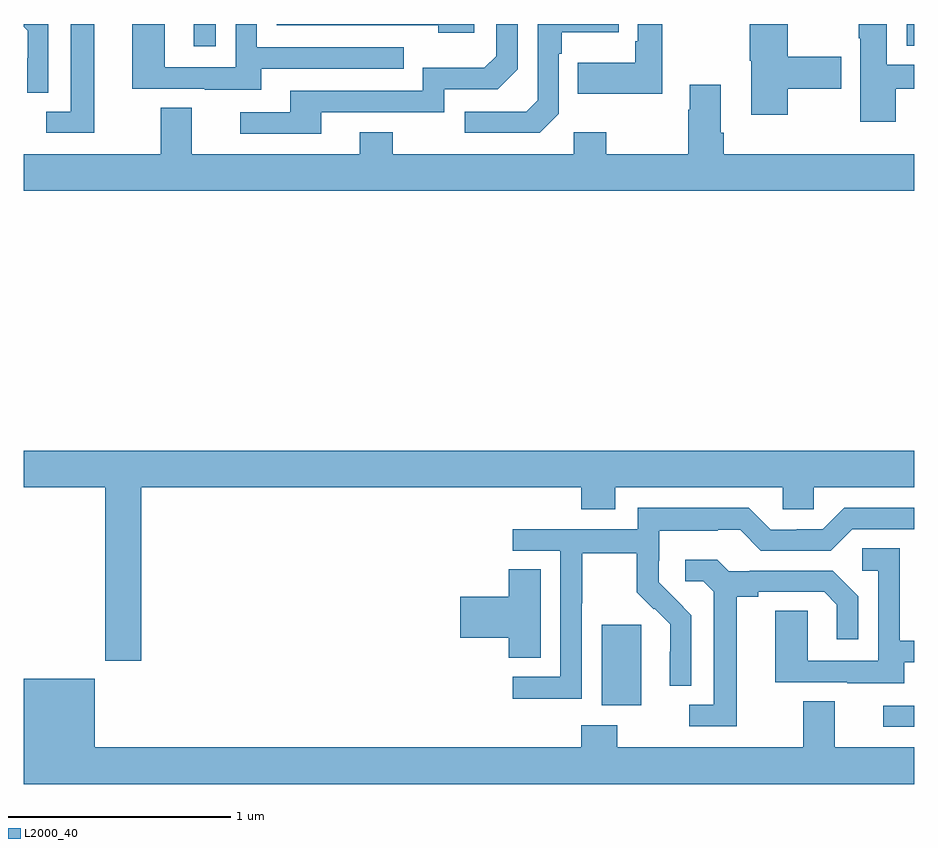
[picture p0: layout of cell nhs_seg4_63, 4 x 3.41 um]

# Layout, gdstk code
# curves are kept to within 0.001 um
import gdstk
lib = gdstk.Library(unit=1e-6, precision=1e-09)
def R(c, l, rs):  # rectangles x0, y0, x1, y1
    for r in rs: c.add(gdstk.rectangle(r[:2], r[2:], *l))
def P(c, l, *ps):  # polygons
    for p in ps: c.add(gdstk.Polygon(p, *l))
L2000_40 = (2000, 40)

nhs_seg4_63 = lib.new_cell('nhs_seg4_63')
R(nhs_seg4_63, L2000_40, [(116.859,795.744,117,795.84), (115.595,795.842,115.774,796.203), (113.765,798.801,113.862,798.9), (116.966,798.802,117,798.9)])
P(nhs_seg4_63, L2000_40, [(115.867,798.9),(115.758,798.9),(115.758,798.823),(115.746,798.823),(115.746,798.727),(115.489,798.727),(115.489,798.587),(115.867,798.587)],
  [(113.112,798.9),(113,798.9),(113,798.887),(113.018,798.869),(113.018,798.746),(113.016,798.746),(113.016,798.592),(113.112,798.592)],
  [(115.024,798.9),(114.138,798.9),(114.138,798.894),(114.863,798.894),(114.863,798.86),(115.024,798.86)],
  [(113.317,798.9),(113.213,798.9),(113.213,798.507),(113.103,798.507),(113.103,798.411),(113.317,798.411)],
  [(115.404,798.498),(115.404,798.767),(115.417,798.767),(115.417,798.863),(115.673,798.863),(115.673,798.9),(115.308,798.9),(115.308,798.558),(115.257,798.507),(114.981,798.507),(114.981,798.411),(115.317,798.411)],
  [(114.337,798.504),(114.888,798.504),(114.888,798.606),(115.128,798.606),(115.218,798.696),(115.218,798.9),(115.122,798.9),(115.122,798.756),(115.069,798.703),(114.792,798.703),(114.792,798.6),(114.197,798.6),(114.197,798.504),(113.973,798.504),(113.973,798.408),(114.337,798.408)],
  [(114.067,798.699),(114.707,798.699),(114.707,798.795),(114.048,798.795),(114.048,798.9),(113.952,798.9),(113.952,798.705),(113.634,798.705),(113.634,798.9),(113.489,798.9),(113.489,798.609),(113.813,798.609),(113.813,798.605),(114.067,798.605)],
  [(116.43,798.61),(116.671,798.61),(116.671,798.752),(116.43,798.752),(116.43,798.9),(116.26,798.9),(116.26,798.735),(116.267,798.735),(116.267,798.492),(116.43,798.492)],
  [(116.917,798.609),(117,798.609),(117,798.717),(116.875,798.717),(116.875,798.9),(116.749,798.9),(116.749,798.835),(116.756,798.835),(116.756,798.462),(116.917,798.462)],
  [(117,798.316),(116.144,798.316),(116.144,798.412),(116.131,798.412),(116.131,798.628),(115.991,798.628),(115.991,798.515),(115.984,798.515),(115.984,798.316),(115.617,798.316),(115.617,798.415),(115.47,798.415),(115.47,798.316),(114.657,798.316),(114.657,798.415),(114.509,798.415),(114.509,798.316),(113.755,798.316),(113.755,798.524),(113.615,798.524),(113.615,798.316),(113,798.316),(113,798.152),(117,798.152)],
  [(113.528,796.82),(115.505,796.82),(115.505,796.721),(115.657,796.721),(115.657,796.82),(116.409,796.82),(116.409,796.722),(116.547,796.722),(116.547,796.82),(117,796.82),(117,796.984),(113,796.984),(113,796.82),(113.368,796.82),(113.368,796.041),(113.528,796.041)],
  [(115.506,796.3),(115.509,796.3),(115.509,796.524),(115.753,796.524),(115.753,796.349),(115.83,796.272),(115.833,796.275),(115.904,796.205),(115.904,796.082),(115.902,796.082),(115.902,795.928),(115.998,795.928),(115.998,796.246),(115.852,796.394),(115.852,796.491),(115.854,796.491),(115.854,796.625),(116.117,796.625),(116.117,796.629),(116.217,796.629),(116.31,796.536),(116.625,796.536),(116.721,796.632),(117,796.632),(117,796.728),(116.685,796.728),(116.589,796.632),(116.471,796.632),(116.471,796.629),(116.355,796.629),(116.255,796.729),(115.758,796.729),(115.758,796.632),(115.197,796.632),(115.197,796.536),(115.41,796.536),(115.41,795.969),(115.197,795.969),(115.197,795.871),(115.506,795.871)],
  [(116.953,796.035),(117,796.035),(117,796.131),(116.934,796.131),(116.934,796.547),(116.766,796.547),(116.766,796.446),(116.838,796.446),(116.838,796.041),(116.52,796.041),(116.52,796.265),(116.375,796.265),(116.375,795.945),(116.699,795.945),(116.699,795.941),(116.953,795.941)],
  [(116.203,796.328),(116.299,796.328),(116.299,796.35),(116.594,796.35),(116.651,796.293),(116.651,796.137),(116.748,796.137),(116.748,796.33),(116.632,796.446),(116.26,796.446),(116.26,796.443),(116.166,796.443),(116.114,796.495),(115.971,796.495),(115.971,796.398),(116.052,796.398),(116.099,796.351),(116.099,795.843),(115.989,795.843),(115.989,795.747),(116.203,795.747)],
  [(115.321,796.451),(115.178,796.451),(115.178,796.328),(114.96,796.328),(114.96,796.145),(115.178,796.145),(115.178,796.054),(115.321,796.054)],
  [(117,795.652),(116.641,795.652),(116.641,795.86),(116.501,795.86),(116.501,795.652),(115.665,795.652),(115.665,795.751),(115.505,795.751),(115.505,795.652),(113.32,795.652),(113.32,795.961),(113,795.961),(113,795.488),(117,795.488)])

lib.write_gds('nhs_seg4_63.gds')
